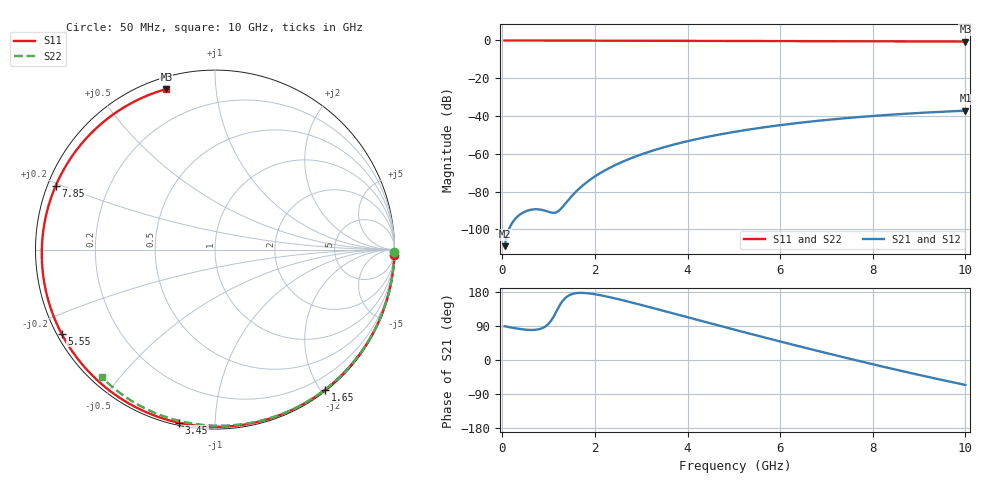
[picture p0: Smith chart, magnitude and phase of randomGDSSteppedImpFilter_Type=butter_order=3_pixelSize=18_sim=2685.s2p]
! freq	dB(S11)	phase(S11)	dB(S12)	phase(S12)
!  dB(S21)	phase(S21)	dB(S22)	phase(S22)
!S-par simulation data
#  GHz  S  DB  R 50
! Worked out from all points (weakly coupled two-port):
!   200 points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, 50 MHz to 10 GHz, reference 50 ohm
!   highest |S21| = -37.19 dB at 10 GHz (marker M1); lowest = -108.9 dB at 50 MHz (marker M2)
!   lowest |S11| = -0.6 dB at 10 GHz (marker M3), VSWR 29.66, Z = 2.61 + j37.1 ohm
!   |S11| at or under -10 dB: nowhere
!   |S22| runs from -0.4 to 0.0 dB; largest |S21 - S12| = 0
!   S11 on the Smith chart (normalised r, x): 50 MHz: 0, -70; 1.65 GHz: 0.02, -2.05; 3.45 GHz: 0.01, -0.81; 5.55 GHz: 0.01, -0.26; 7.85 GHz: 0.02, +0.19; 10 GHz: 0.05, +0.74
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0.05  -0.00 -1.6  -108.94 89.0  -108.94 89.0  -0.00 -0.8
0.4  -0.02 -12.9  -91.87 81.5  -91.87 81.5  -0.01 -6.1
0.8  -0.03 -25.7  -89.49 81.5  -89.49 81.5  -0.02 -12.1
1.55  -0.06 -48.9  -81.09 175.4  -81.09 175.4  -0.03 -23.3
1.6  -0.06 -50.4  -79.85 176.4  -79.85 176.4  -0.03 -24.0
1.65  -0.06 -51.9  -78.68 177.0  -78.68 177.0  -0.03 -24.8
1.75  -0.07 -54.9  -76.52 177.0  -76.52 177.0  -0.03 -26.3
2.05  -0.08 -63.7  -71.21 172.5  -71.21 172.5  -0.04 -30.7
2.45  -0.09 -75.1  -65.87 162.1  -65.87 162.1  -0.05 -36.5
2.9  -0.11 -87.4  -61.25 148.4  -61.25 148.4  -0.06 -42.9
3.4  -0.12 -100.5  -57.20 132.4  -57.20 132.4  -0.07 -50.0
3.45  -0.13 -101.8  -56.85 130.8  -56.85 130.8  -0.07 -50.7
4.2  -0.16 -120.3  -52.23 106.3  -52.23 106.3  -0.09 -61.0
5.05  -0.19 -140.1  -48.25 78.8  -48.25 78.8  -0.11 -72.4
5.55  -0.22 -151.3  -46.35 63.0  -46.35 63.0  -0.13 -78.8
6.15  -0.26 -164.5  -44.39 44.2  -44.39 44.2  -0.15 -86.4
6.7  -0.30 -176.5  -42.85 27.3  -42.85 27.3  -0.18 -93.3
7.25  -0.34 171.4  -41.52 10.8  -41.52 10.8  -0.21 -99.9
7.85  -0.39 158.1  -40.27 -6.9  -40.27 -6.9  -0.25 -107.1
8.35  -0.43 146.7  -39.38 -21.2  -39.38 -21.2  -0.29 -112.9
9.25  -0.52 125.5  -38.06 -46.1  -38.06 -46.1  -0.37 -123.2
10  -0.59 106.8  -37.19 -65.8  -37.19 -65.8  -0.45 -131.7
